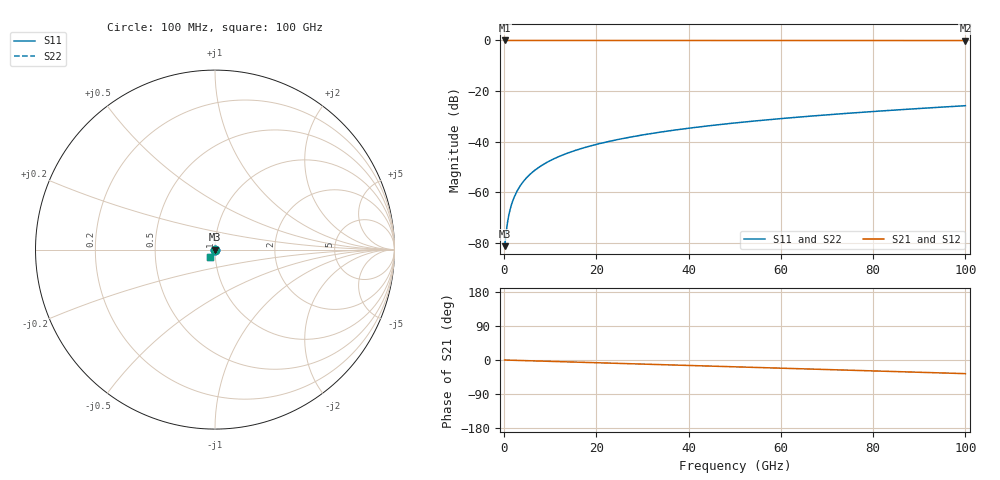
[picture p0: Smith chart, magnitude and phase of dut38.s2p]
! Touchstone file exported from HFSS 2026.1.0
!  File:  C:/ffzhzh/LocalFiles/Ansys_Project_Files/temp_train_TSV_38_1783504710_41296.aedt
!  Generated:  05:59:52 PM Jul  8, 2026
!  Design:  TSV
!  Project:  temp_train_TSV_38_1783504710_41296
! Variables:
!  h_bsmrdl = 2um
!  h_ox = 20um
!  h_rdl = 5um
!  h_sub = 70.54um
!  h_tmrdl = 5um
!  h_tsv = 70.54um
!  h_via = 3um
!  l_bsmrdl = 300um
!  l_sub = 424.9um
!  l_tmrdl = 200um
!  m_sub = 200um
!  pitch = 46.38um
!  r_tsv = 12.45um
!  s_tmrdl = 10um
!  w_bsmrdl = 18um
!  w_sub = 500um
!  w_tmrdl = 12um
!  x_tsv_center1 = 206um
!  x_tsv_center2 = 524um
!  x_tsv_center3 = 736um
!  x_tsv_center4 = 1054um
!  x_tsv_center5 = 1266um
!  x_tsv_center6 = 1584um
# GHz S MA R 50.000000
! Terminal data exported
! Port[1] = TSV1_1_T1
! Port[2] = TSV1_1_T2
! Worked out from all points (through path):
!   1000 points, 100 MHz to 100 GHz, reference 50 ohm
!   highest |S21| = 0.00 dB at 100 MHz (marker M1); lowest = 0.0 dB at 100 GHz (marker M2)
!   group delay of S21, straight-line fit = 998 fs
!   lowest |S11| = -81.4 dB at 100 MHz (marker M3), VSWR 1.00, Z = 50 - j0.000592 ohm
!   |S11| at or under -10 dB: start of sweep to end of sweep
!   |S22| runs from -81.4 to -25.8 dB; largest |S21 - S12| = 3.5e-15
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0.1  8.524e-05 -4.0  0.9999 -0.0  0.9999 -0.0  8.524e-05 -4.0
! Gamma 0 0 0 0
! Port Impedance 50 0 50 0
0.3  0.0001201 -15.6  0.9999 -0.1  0.9999 -0.1  0.0001201 -15.6
0.5  0.0001755 -28.3  0.9998 -0.2  0.9998 -0.2  0.0001755 -28.3
0.9  0.0003099 -46.3  0.9998 -0.3  0.9998 -0.3  0.0003099 -46.3
1.1  0.0003817 -51.9  0.9998 -0.4  0.9998 -0.4  0.0003817 -51.9
1.4  0.0004925 -57.9  0.9997 -0.5  0.9997 -0.5  0.0004925 -57.9
1.8  0.0006449 -63.0  0.9997 -0.7  0.9997 -0.7  0.0006449 -63.0
2.3  0.000842 -67.2  0.9997 -0.8  0.9997 -0.8  0.000842 -67.2
3  0.001128 -71.0  0.9996 -1.1  0.9996 -1.1  0.001128 -71.0
3.7  0.001422 -73.7  0.9996 -1.3  0.9996 -1.3  0.001422 -73.7
4.5  0.001765 -75.9  0.9995 -1.6  0.9995 -1.6  0.001765 -75.9
5.5  0.0022 -78.1  0.9995 -2.0  0.9995 -2.0  0.0022 -78.1
6.6  0.002683 -80.0  0.9994 -2.4  0.9994 -2.4  0.002683 -80.0
9.3  0.003885 -83.2  0.9993 -3.4  0.9993 -3.4  0.003885 -83.2
12.7  0.005428 -86.0  0.9992 -4.6  0.9992 -4.6  0.005428 -86.0
16.8  0.007311 -88.7  0.999 -6.0  0.999 -6.0  0.007311 -88.7
24.1  0.01071 -92.7  0.9988 -8.7  0.9988 -8.7  0.01071 -92.7
33.4  0.01514 -97.0  0.9986 -12.0  0.9986 -12.0  0.01514 -97.0
50.1  0.02337 -104.1  0.9981 -18.0  0.9981 -18.0  0.02337 -104.1
66.7  0.03199 -110.8  0.9975 -23.9  0.9975 -23.9  0.032 -110.7
83.4  0.04125 -117.3  0.9969 -30.0  0.9969 -30.0  0.04125 -117.3
100  0.05119 -123.8  0.9961 -36.0  0.9961 -36.0  0.05119 -123.8
